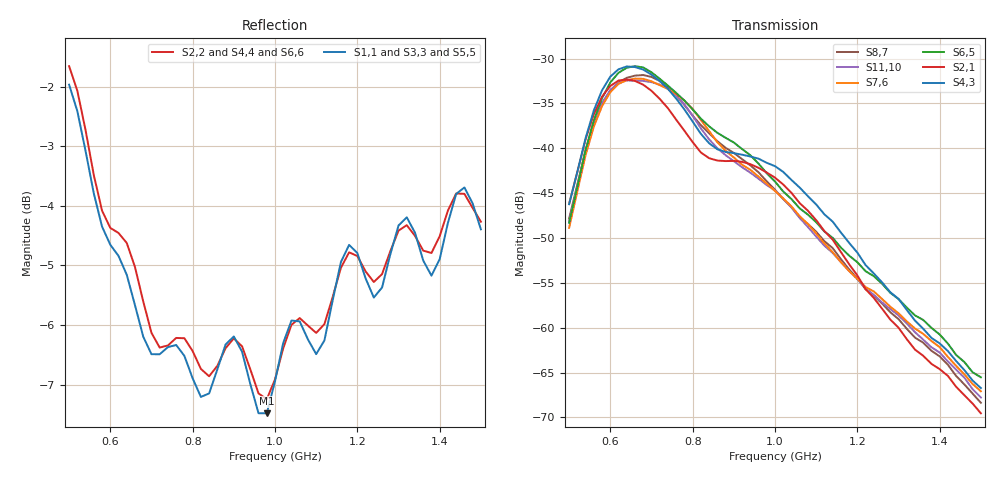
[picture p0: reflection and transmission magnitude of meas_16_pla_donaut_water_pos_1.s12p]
! Converted from meas_16_pla_donaut_water_pos_1.mat
! MATLAB 5.0 MAT-file, Platform: PCWIN64, Created on: Sat Nov 21 15:27:22 2026
! Ports 1-12 = antennas 1-12; IFBW=1000 Hz, power=0 dBm, doCalibration flag=0
! SW_A serial 12410080206: antennas 1 3 5 7 9 11
! SW_B serial 12410080235: antennas 2 4 6 8 10 12
! WARNING: Sij (i!=j) between two odd or two even ports was NOT MEASURED (NaN in source).
! Those entries are written as 0 0 placeholders. Do not treat them as data.
! Reference impedance 50 ohm is assumed (not stored in source).
# Hz S RI R 50
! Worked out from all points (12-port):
!   51 points, 500 MHz to 1.5 GHz, reference 50 ohm
!   strongest paths, dB at 500 MHz, 740 MHz, 1 GHz, 1.26 GHz, 1.5 GHz:
!     S4,3: -46.2, -33.4, -42.0, -54.9, -66.7
!     S2,1: -46.2, -35.5, -43.3, -57.9, -69.5
!     S6,5: -48.3, -33.0, -43.7, -55.1, -65.5
!     S7,6: -48.9, -33.4, -44.8, -56.8, -67.1
!     S11,10: -48.1, -33.3, -44.7, -57.2, -67.8
!     S8,7: -47.8, -33.2, -44.6, -57.3, -68.4
!   lowest |S11| = -7.5 dB at 980 MHz (marker M1), VSWR 2.46, Z = 26.9 - j25.3 ohm
!   |S11| at or under -10 dB: nowhere
